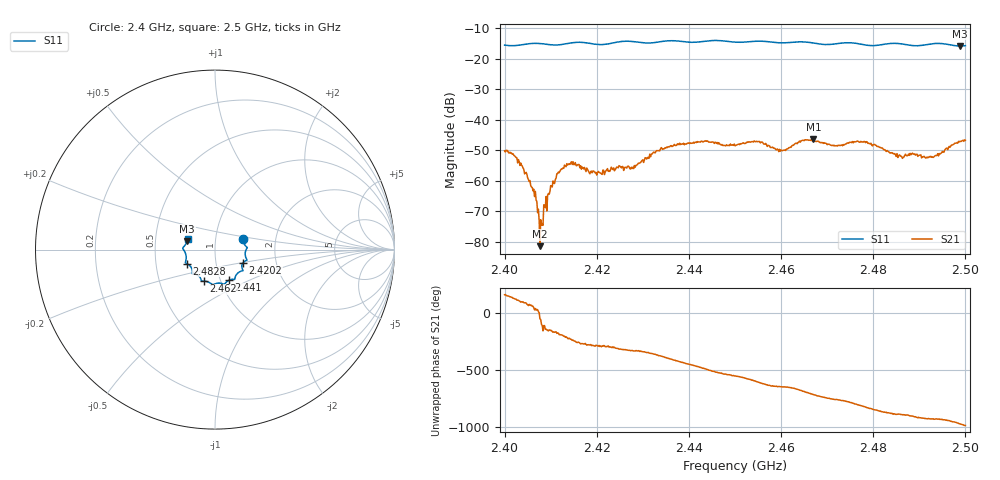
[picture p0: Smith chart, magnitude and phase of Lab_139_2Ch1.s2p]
# Hz S RI R 50
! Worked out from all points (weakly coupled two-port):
!   601 points, 2.4 GHz to 2.5 GHz, reference 50 ohm
!   highest |S21| = -46.32 dB at 2.467 GHz (marker M1); lowest = -81.4 dB at 2.4077 GHz (marker M2)
!   lowest |S11| = -15.8 dB at 2.4988 GHz (marker M3), VSWR 1.39, Z = 36.4 + j3.4 ohm
!   |S11| at or under -10 dB: start of sweep to end of sweep
!   S12 and S22 are empty: the file has one direction only
!   S11 on the Smith chart (normalised r, x): 2.4 GHz: 1.36, +0.17; 2.4202 GHz: 1.35, -0.20; 2.441 GHz: 1.10, -0.39; 2.462 GHz: 0.83, -0.30; 2.4828 GHz: 0.72, -0.12; 2.5 GHz: 0.73, +0.09
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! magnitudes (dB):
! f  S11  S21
! 2.4 GHz  -15.5  -50.1
! 2.4022 GHz  -15.6  -51.8
! 2.405 GHz  -15.1  -58.9
! 2.4065 GHz  -14.9  -65.1
! 2.4077 GHz  -14.9  -81.4
! 2.4118 GHz  -15.4  -57.3
! 2.4143 GHz  -14.8  -54.2
! 2.4167 GHz  -14.6  -56.1
! 2.4202 GHz  -15.3  -57.2
! 2.4278 GHz  -14.3  -55.5
! 2.4333 GHz  -14.5  -50.1
! 2.441 GHz  -14.6  -47.3
! 2.45 GHz  -14.5  -48.5
! 2.462 GHz  -14.6  -48.9
! 2.4667 GHz  -14.7  -46.4
! 2.467 GHz  -14.8  -46.3
! 2.4782 GHz  -15.4  -47.1
! 2.4828 GHz  -15.1  -50.4
! 2.4833 GHz  -15.0  -50.4
! 2.4928 GHz  -15.0  -52.1
! 2.4988 GHz  -15.8  -47.0
! 2.5 GHz  -15.6  -46.7
